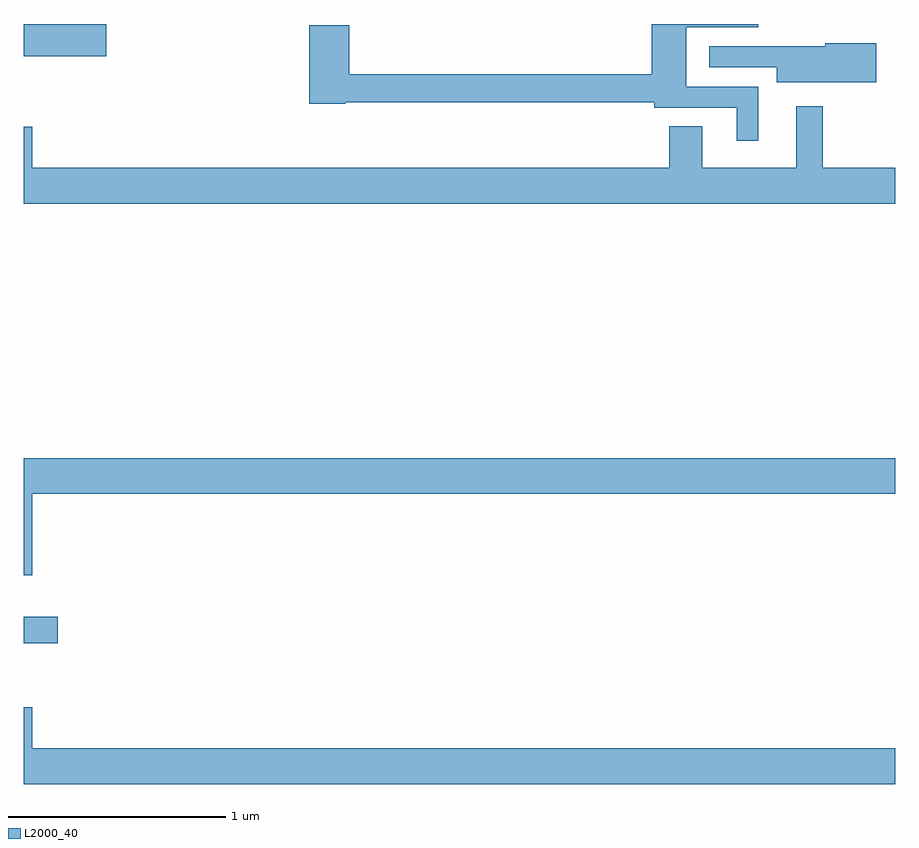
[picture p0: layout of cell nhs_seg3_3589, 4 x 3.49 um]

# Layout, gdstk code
import gdstk
lib = gdstk.Library(unit=1e-6, precision=1e-09)
def R(c, l, rs):  # rectangles x0, y0, x1, y1
    for r in rs: c.add(gdstk.rectangle(r[:2], r[2:], *l))
def P(c, l, *ps):  # polygons
    for p in ps: c.add(gdstk.Polygon(p, *l))
L2000_40 = (2000, 40)

nhs_seg3_3589 = lib.new_cell('nhs_seg3_3589')
R(nhs_seg3_3589, L2000_40, [(297,705.557,297.157,705.679), (297,708.251,297.379,708.398)])
P(nhs_seg3_3589, L2000_40, [(300.37,708.111),(300.04,708.111),(300.04,708.386),(300.37,708.386),(300.37,708.4),(299.882,708.4),(299.882,708.17),(298.493,708.17),(298.493,708.394),(298.31,708.394),(298.31,708.034),(298.476,708.034),(298.476,708.042),(299.894,708.042),(299.894,708.015),(300.272,708.015),(300.272,707.865),(300.37,707.865)],
  [(300.913,708.311),(300.678,708.311),(300.678,708.298),(300.459,708.298),(300.459,708.297),(300.147,708.297),(300.147,708.201),(300.455,708.201),(300.455,708.133),(300.913,708.133)],
  [(301,707.74),(300.667,707.74),(300.667,708.022),(300.545,708.022),(300.545,707.74),(300.115,707.74),(300.115,707.93),(299.963,707.93),(299.963,707.74),(297.04,707.74),(297.04,707.929),(297,707.929),(297,707.576),(301,707.576)],
  [(297.04,706.244),(301,706.244),(301,706.408),(297,706.408),(297,705.87),(297.04,705.87)],
  [(301,705.076),(297.04,705.076),(297.04,705.265),(297,705.265),(297,704.912),(301,704.912)])

lib.write_gds('nhs_seg3_3589.gds')
